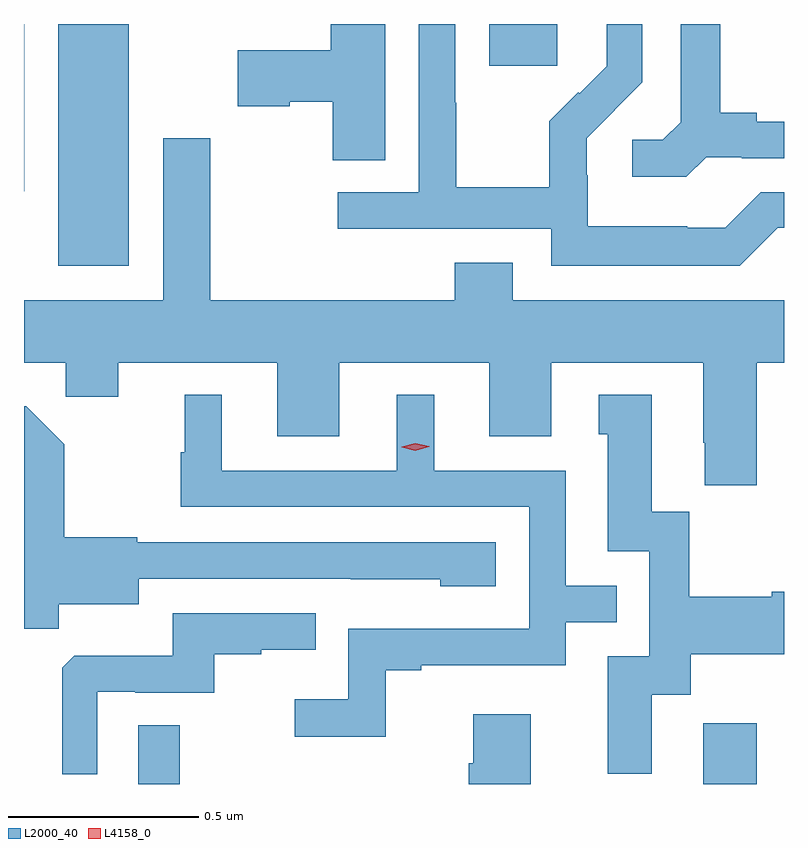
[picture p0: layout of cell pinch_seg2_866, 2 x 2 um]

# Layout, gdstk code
import gdstk
lib = gdstk.Library(unit=1e-6, precision=1e-09)
def R(c, l, rs):  # rectangles x0, y0, x1, y1
    for r in rs: c.add(gdstk.rectangle(r[:2], r[2:], *l))
def P(c, l, *ps):  # polygons
    for p in ps: c.add(gdstk.Polygon(p, *l))
L2000_40 = (2000, 40)
L4158_0 = (4158, 0)

pinch_seg2_866 = lib.new_cell('pinch_seg2_866')
R(pinch_seg2_866, L2000_40, [(793.548,614.559,793.657,614.714), (795.035,614.559,795.175,614.719), (793.337,615.923,793.522,616.559), (793.247,616.119,793.248,616.559), (794.471,616.449,794.65,616.559)])
P(pinch_seg2_866, L2000_40, [(795.231,616.023),(795.247,616.023),(795.247,616.116),(795.186,616.116),(795.093,616.023),(794.993,616.023),(794.993,616.027),(794.73,616.027),(794.73,616.161),(794.728,616.161),(794.728,616.258),(794.802,616.332),(794.801,616.333),(794.874,616.406),(794.874,616.559),(794.78,616.559),(794.78,616.448),(794.709,616.377),(794.706,616.38),(794.629,616.303),(794.629,616.129),(794.385,616.129),(794.385,616.352),(794.382,616.352),(794.382,616.559),(794.286,616.559),(794.286,616.116),(794.073,616.116),(794.073,616.02),(794.634,616.02),(794.634,615.923),(795.131,615.923)],
  [(795.042,616.209),(795.136,616.209),(795.136,616.206),(795.247,616.206),(795.247,616.302),(795.175,616.302),(795.175,616.325),(795.079,616.325),(795.079,616.559),(794.975,616.559),(794.975,616.301),(794.928,616.254),(794.847,616.254),(794.847,616.157),(794.99,616.157)],
  [(794.197,616.559),(794.054,616.559),(794.054,616.49),(793.809,616.49),(793.809,616.343),(793.946,616.343),(793.946,616.355),(794.059,616.355),(794.059,616.201),(794.197,616.201)],
  [(795.175,615.668),(795.247,615.668),(795.247,615.832),(794.533,615.832),(794.533,615.931),(794.381,615.931),(794.381,615.832),(793.737,615.832),(793.737,616.258),(793.613,616.258),(793.613,615.832),(793.247,615.832),(793.247,615.668),(793.357,615.668),(793.357,615.578),(793.495,615.578),(793.495,615.668),(793.913,615.668),(793.913,615.474),(794.077,615.474),(794.077,615.668),(794.471,615.668),(794.471,615.474),(794.635,615.474),(794.635,615.668),(795.035,615.668),(795.035,615.457),(795.038,615.457),(795.038,615.345),(795.175,615.345)],
  [(794.199,614.859),(794.293,614.859),(794.293,614.871),(794.673,614.871),(794.673,614.985),(794.807,614.985),(794.807,615.081),(794.673,615.081),(794.673,615.384),(794.326,615.384),(794.326,615.583),(794.228,615.583),(794.228,615.384),(793.768,615.384),(793.768,615.583),(793.67,615.583),(793.67,615.432),(793.659,615.432),(793.659,615.288),(794.577,615.288),(794.577,614.967),(794.1,614.967),(794.1,614.782),(793.959,614.782),(793.959,614.684),(794.199,614.684)],
  [(794.899,614.794),(795.001,614.794),(795.001,614.9),(795.247,614.9),(795.247,615.065),(795.215,615.065),(795.215,615.052),(794.997,615.052),(794.997,615.275),(794.899,615.275),(794.899,615.583),(794.759,615.583),(794.759,615.48),(794.783,615.48),(794.783,615.171),(794.892,615.171),(794.892,614.895),(794.783,614.895),(794.783,614.586),(794.899,614.586)],
  [(793.338,615.032),(793.549,615.032),(793.549,615.099),(794.107,615.099),(794.107,615.098),(794.343,615.098),(794.343,615.08),(794.488,615.08),(794.488,615.195),(793.545,615.195),(793.545,615.208),(793.353,615.208),(793.353,615.453),(793.253,615.553),(793.247,615.553),(793.247,614.968),(793.338,614.968)],
  [(793.44,614.802),(793.54,614.802),(793.54,614.799),(793.748,614.799),(793.748,614.901),(793.871,614.901),(793.871,614.912),(794.015,614.912),(794.015,615.009),(793.638,615.009),(793.638,614.897),(793.379,614.897),(793.347,614.865),(793.347,614.585),(793.44,614.585)],
  [(794.581,614.743),(794.429,614.743),(794.429,614.613),(794.417,614.613),(794.417,614.559),(794.581,614.559)])
P(pinch_seg2_866, L4158_0, [(794.277,615.436),(794.241,615.445),(794.241,615.445),(794.241,615.446),(794.277,615.456),(794.313,615.448),(794.313,615.448),(794.313,615.447)])

lib.write_gds('pinch_seg2_866.gds')
